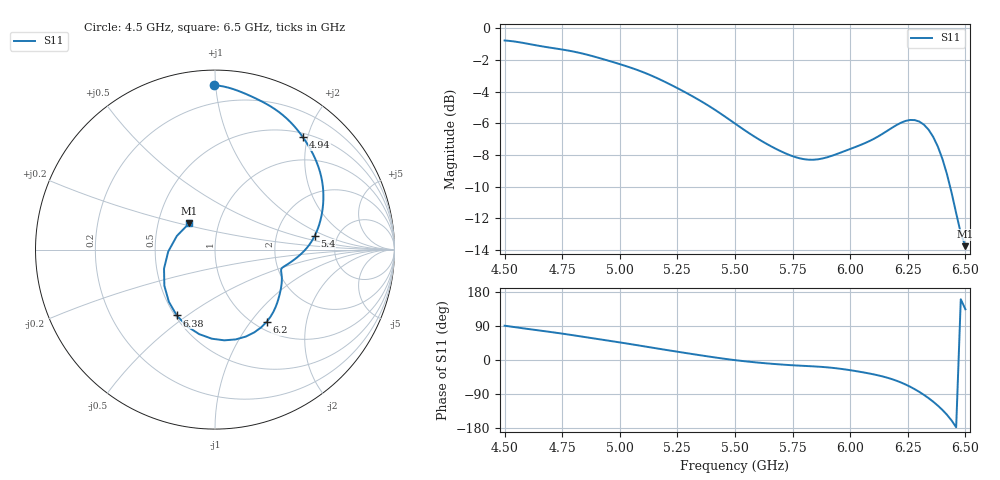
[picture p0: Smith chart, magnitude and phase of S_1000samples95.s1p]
! TOUCHSTONE file generated by CST MICROWAVE STUDIO
! Date and time: Wed Oct 26 23:44:56 2022
! Project name: L.cst
! Parameters = {Di=1.27; Epsilon_r=1.56; InnerDiameter=1.27; Length=2; Lf=10; Lg=60; OuterConductorThickness=0.2921; OuterDiameter=3.6; Wf=3; Wp=41.2; de=1.5; df=6.8; g=0.8; gx=0.858819; gy=4.44; h=2.34; hf=1.524; px=10.6939; py=9.89131; w=9.7; wx=9.83512; wy=5.45131}
! Header version: 2018
! Port assignment regex: !\s*Touchstone port\s*([0-9]+)\s*=\s*(CST MWS port|CST DS port)\s*([0-9]+|Zmin|Zmax)\s*\(\"(.*)\"\)(\s*mode\s*([0-9]+))?.*
! Touchstone port assignment:
! Touchstone port 1 = CST MWS port 1 ("")
# GHz S DB R 50
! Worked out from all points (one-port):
!   101 points, 4.5 GHz to 6.5 GHz, reference 50 ohm
!   lowest |S11| = -13.8 dB at 6.5 GHz (marker M1), VSWR 1.52, Z = 36.1 + j11.2 ohm
!   |S11| at or under -10 dB: 6.434 GHz to end of sweep
!   S11 on the Smith chart (normalised r, x): 4.5 GHz: 0.09, +0.99; 4.94 GHz: 0.56, +1.92; 5.4 GHz: 3.37, +0.76; 6.2 GHz: 1.13, -1.20; 6.38 GHz: 0.51, -0.46; 6.5 GHz: 0.72, +0.22
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4.5  -0.76 90.5
4.6  -0.96 82.0
4.76  -1.35 68.7
4.86  -1.66 59.5
4.94  -1.99 52.0
5  -2.25 46.4
5.14  -2.99 32.6
5.26  -3.85 20.9
5.4  -5.02 7.9
5.5  -6.01 -0.3
5.62  -7.15 -7.9
5.76  -8.12 -14.2
5.9  -8.14 -19.4
6  -7.61 -26.9
6.12  -6.83 -40.3
6.16  -6.47 -46.5
6.2  -6.11 -54.5
6.26  -5.78 -70.5
6.3  -5.88 -84.2
6.32  -6.08 -92.0
6.34  -6.39 -100.6
6.38  -7.45 -120.2
6.4  -8.23 -131.6
6.42  -9.20 -144.5
6.44  -10.37 -159.5
6.46  -11.67 -177.6
6.48  -12.93 160.3
6.5  -13.75 133.9
